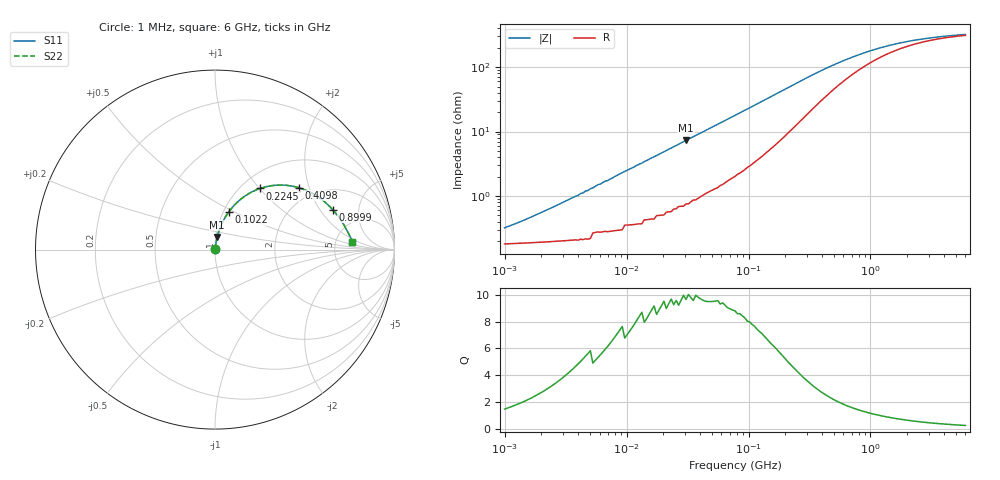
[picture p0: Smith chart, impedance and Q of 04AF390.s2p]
# MHz S MA R 50
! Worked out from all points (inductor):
!   189 points, 1 MHz to 6 GHz, reference 50 ohm
!   read as one part in series: L = 40.7 nH near 2.3 MHz
!   highest Q = 9.97 at 30.7 MHz (marker M1), where L = 37.5 nH
!   S11 on the Smith chart (normalised r, x): 1 MHz: 1.00, +0.01; 102.2 MHz: 1.06, +0.46; 224.5 MHz: 1.21, +1.01; 409.8 MHz: 1.65, +1.71; 899.9 MHz: 3.08, +2.64; 6 GHz: 7.24, +1.57
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1  0.003079 58.9  0.998 -0.2  0.998 -0.2  0.003079 58.9
4.008  0.01 77.0  0.998 -0.6  0.998 -0.6  0.01 77.0
4.198  0.011 77.3  0.998 -0.6  0.998 -0.6  0.011 77.3
4.396  0.011 77.6  0.998 -0.6  0.998 -0.6  0.011 77.6
4.605  0.012 77.9  0.998 -0.7  0.998 -0.7  0.012 77.9
5.29  0.013 78.7  0.997 -0.8  0.997 -0.8  0.013 78.7
5.803  0.015 79.2  0.997 -0.8  0.997 -0.8  0.015 79.2
6.983  0.017 79.9  0.997 -1.0  0.997 -1.0  0.017 79.9
8.801  0.022 80.6  0.997 -1.2  0.997 -1.2  0.022 80.6
18.454  0.044 81.2  0.994 -2.5  0.994 -2.5  0.044 81.2
30.7  0.072 80.0  0.99 -4.1  0.99 -4.1  0.072 80.0
77.46  0.172 73.6  0.966 -9.9  0.966 -9.9  0.172 73.6
102.248  0.222 70.1  0.948 -12.7  0.948 -12.7  0.222 70.1
155.069  0.319 62.6  0.899 -18.4  0.899 -18.4  0.319 62.6
224.541  0.423 53.6  0.823 -24.4  0.823 -24.4  0.423 53.6
340.538  0.538 41.7  0.697 -30.9  0.697 -30.9  0.538 41.7
409.781  0.581 36.4  0.635 -32.9  0.635 -32.9  0.581 36.4
593.368  0.646 27.0  0.516 -34.6  0.516 -34.6  0.646 27.0
899.897  0.692 18.8  0.411 -33.0  0.411 -33.0  0.692 18.8
1429.415  0.724 12.4  0.332 -28.0  0.332 -28.0  0.724 12.4
2732.184  0.749 6.9  0.271 -19.4  0.271 -19.4  0.749 6.9
6000  0.767 3.3  0.238 -10.8  0.238 -10.8  0.767 3.3
